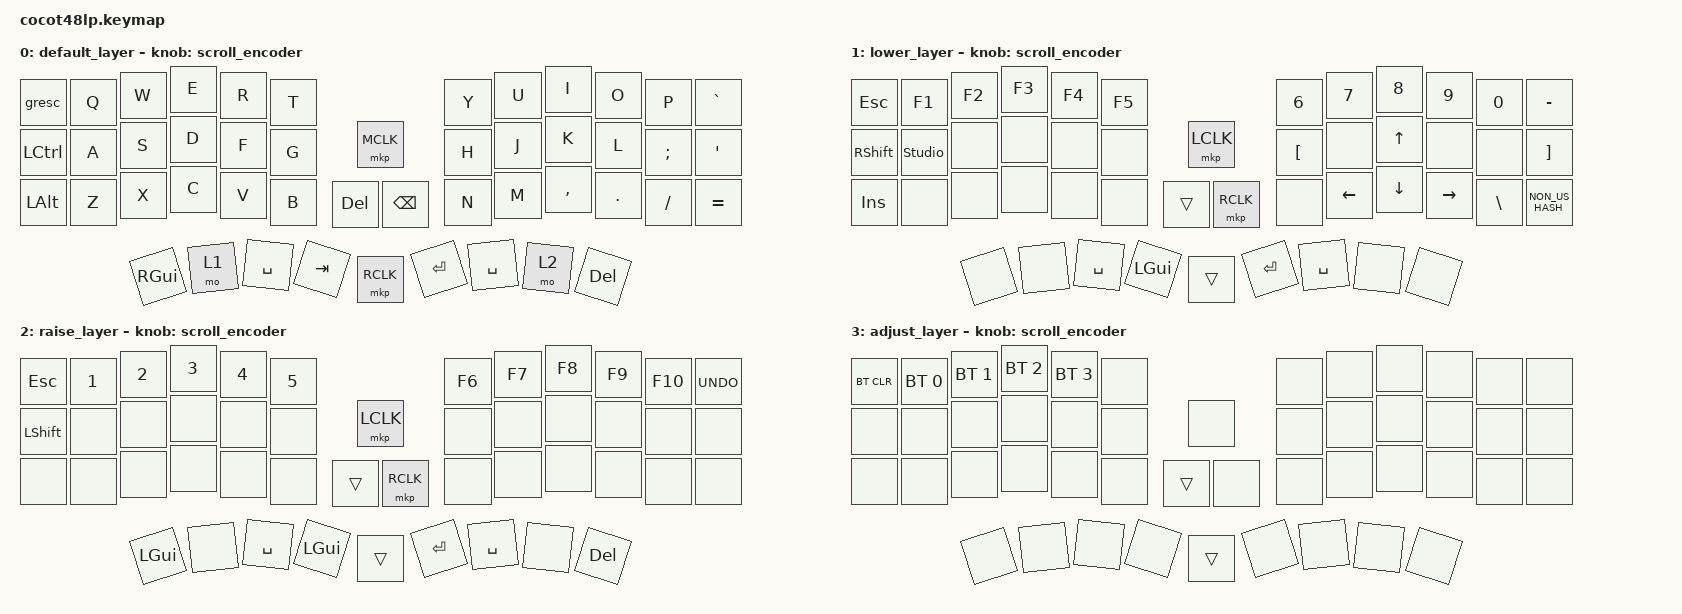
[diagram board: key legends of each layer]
#include <behaviors.dtsi>
#include <dt-bindings/zmk/keys.h>
#include <dt-bindings/zmk/bt.h>
#include <dt-bindings/zmk/mouse.h>
#include <dt-bindings/zmk/pointing.h>

/ {
    /*
     * Tri-layer: holding mo1 (lower) AND mo2 (raise) together activates the
     * adjust layer (3), where the BLE controls live (&bt BT_CLR, &bt BT_SEL).
     * Without this the adjust layer was unreachable, so bonds could not be
     * cleared and re-pairing failed after a host removed the device.
     */
    conditional_layers {
        compatible = "zmk,conditional-layers";
        adjust {
            if-layers = <1 2>;
            then-layer = <3>;
        };
    };

    keymap {
        compatible = "zmk,keymap";

        default_layer {
            bindings = <
&gresc   &kp Q    &kp W    &kp E    &kp R    &kp T      &kp Y    &kp U    &kp I    &kp O    &kp P    &kp GRAVE
&kp LCTRL &kp A   &kp S    &kp D    &kp F    &kp G      &kp H    &kp J    &kp K    &kp L    &kp SEMI &kp SQT
&kp LALT &kp Z    &kp X    &kp C    &kp V    &kp B      &mkp MCLK &kp BSPC &kp N   &kp M    &kp COMMA &kp DOT &kp FSLH &kp EQUAL
         &kp RGUI &mo 1    &kp SPACE &kp TAB             &kp ENTER &kp SPACE &mo 2 &kp DEL
&mkp RCLK
&kp DEL
            >;
            sensor-bindings = <&scroll_encoder>;
        };

        lower_layer {
            bindings = <
&kp ESC  &kp F1   &kp F2   &kp F3   &kp F4   &kp F5     &kp N6   &kp N7   &kp N8   &kp N9   &kp N0   &kp MINUS
&kp RSHFT &studio_unlock &none &none &none   &none      &kp LBKT &none    &kp UP   &none    &none    &kp RBKT
&kp INS  &none    &none    &none    &none    &none      &mkp LCLK &mkp RCLK &none  &kp LEFT &kp DOWN &kp RIGHT &kp BSLH &kp NON_US_HASH
         &none    &none    &kp SPACE &kp LGUI                     &kp ENTER &kp SPACE &none &none
&trans
&trans
            >;
            sensor-bindings = <&scroll_encoder>;
        };

        raise_layer {
            bindings = <
&kp ESC  &kp N1   &kp N2   &kp N3   &kp N4   &kp N5     &kp F6   &kp F7   &kp F8   &kp F9   &kp F10  &kp K_UNDO
&kp LSHFT &none   &none    &none    &none    &none      &none    &none    &none    &none    &none    &none
&none    &none    &none    &none    &none    &none      &mkp LCLK &mkp RCLK &none   &none    &none    &none    &none    &none
         &kp LGUI &none    &kp SPACE &kp LGUI                     &kp ENTER &kp SPACE &none &kp DEL
&trans
&trans
            >;
            sensor-bindings = <&scroll_encoder>;
        };

        adjust_layer {
            bindings = <
&bt BT_CLR &bt BT_SEL 0 &bt BT_SEL 1 &bt BT_SEL 2 &bt BT_SEL 3 &none   &none    &none    &none    &none    &none    &none
&none    &none    &none    &none    &none    &none      &none    &none    &none    &none    &none    &none
&none    &none    &none    &none    &none    &none      &none    &none    &none    &none    &none    &none    &none    &none
         &none    &none    &none    &none                        &none    &none    &none    &none
&trans
&trans
            >;
            sensor-bindings = <&scroll_encoder>;
        };
    };
};
